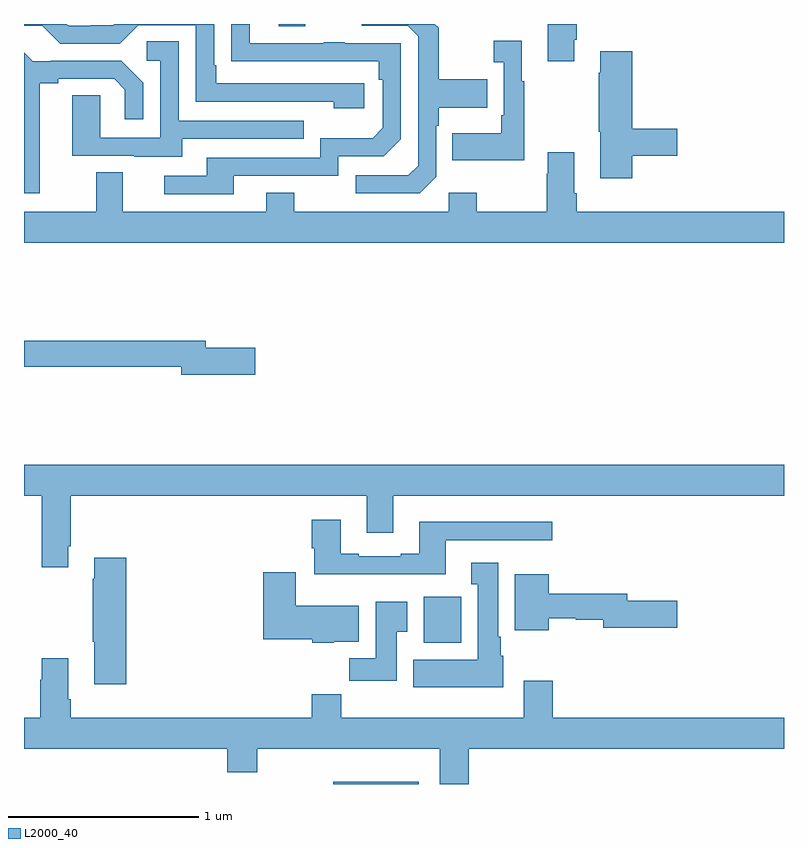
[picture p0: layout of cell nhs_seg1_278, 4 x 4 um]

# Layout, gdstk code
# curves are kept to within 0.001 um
import gdstk
lib = gdstk.Library(unit=1e-6, precision=1e-09)
def R(c, l, rs):  # rectangles x0, y0, x1, y1
    for r in rs: c.add(gdstk.rectangle(r[:2], r[2:], *l))
def P(c, l, *ps):  # polygons
    for p in ps: c.add(gdstk.Polygon(p, *l))
L2000_40 = (2000, 40)

nhs_seg1_278 = lib.new_cell('nhs_seg1_278')
R(nhs_seg1_278, L2000_40, [(126.627,566.199,127.078,566.212), (127.103,566.942,127.3,567.184), (126.341,570.186,126.481,570.199)])
P(nhs_seg1_278, L2000_40, [(127.897,570.115),(127.91,570.115),(127.91,570.199),(127.757,570.199),(127.757,570.003),(127.897,570.003)],
  [(126.103,569.4),(126.654,569.4),(126.654,569.502),(126.894,569.502),(126.984,569.592),(126.984,570.099),(126.689,570.099),(126.689,570.104),(126.577,570.104),(126.577,570.099),(126.187,570.099),(126.187,570.199),(126.091,570.199),(126.091,570.004),(126.868,570.003),(126.868,569.906),(126.888,569.906),(126.888,569.652),(126.835,569.599),(126.558,569.599),(126.558,569.496),(125.963,569.496),(125.963,569.4),(125.739,569.4),(125.739,569.304),(126.103,569.304)],
  [(126.79,569.886),(126.013,569.886),(126.013,569.983),(126,569.983),(126,570.199),(125.476,570.199),(125.469,570.192),(125.351,570.192),(125.351,570.189),(125.235,570.189),(125.225,570.199),(125,570.199),(125,570.189),(125.097,570.189),(125.19,570.096),(125.505,570.096),(125.601,570.192),(125.904,570.192),(125.904,569.79),(126.629,569.79),(126.629,569.756),(126.79,569.756)],
  [(127.17,569.394),(127.17,569.663),(127.183,569.663),(127.183,569.759),(127.439,569.759),(127.439,569.907),(127.183,569.907),(127.183,570.179),(127.163,570.199),(126.777,570.199),(126.777,570.189),(127.02,570.189),(127.074,570.135),(127.074,569.454),(127.023,569.403),(126.747,569.403),(126.747,569.307),(127.083,569.307)],
  [(127.633,569.899),(127.621,569.899),(127.621,570.112),(127.473,570.112),(127.473,569.999),(127.524,569.999),(127.524,569.719),(127.512,569.719),(127.512,569.623),(127.255,569.623),(127.255,569.483),(127.633,569.483)],
  [(125.833,569.595),(126.473,569.595),(126.473,569.691),(125.814,569.691),(125.814,570.107),(125.646,570.107),(125.646,570.006),(125.718,570.006),(125.718,569.601),(125.4,569.601),(125.4,569.825),(125.255,569.825),(125.255,569.505),(125.579,569.505),(125.579,569.501),(125.833,569.501)],
  [(128.201,569.506),(128.437,569.506),(128.437,569.648),(128.201,569.648),(128.201,570.055),(128.033,570.055),(128.033,569.942),(128.026,569.942),(128.026,569.631),(128.033,569.631),(128.033,569.388),(128.201,569.388)],
  [(125.083,569.888),(125.179,569.888),(125.179,569.91),(125.474,569.91),(125.531,569.853),(125.531,569.697),(125.628,569.697),(125.628,569.89),(125.512,570.006),(125.14,570.006),(125.14,570.003),(125.046,570.003),(125,570.049),(125,569.307),(125.083,569.307)],
  [(129,569.212),(127.91,569.212),(127.91,569.308),(127.897,569.308),(127.897,569.524),(127.757,569.524),(127.757,569.411),(127.75,569.411),(127.75,569.212),(127.383,569.212),(127.383,569.311),(127.236,569.311),(127.236,569.212),(126.423,569.212),(126.423,569.311),(126.275,569.311),(126.275,569.212),(125.521,569.212),(125.521,569.42),(125.381,569.42),(125.381,569.212),(125,569.212),(125,569.048),(129,569.048)],
  [(126.217,568.496),(125.956,568.496),(125.956,568.532),(125,568.532),(125,568.396),(125.828,568.396),(125.828,568.354),(126.217,568.354)],
  [(125.233,567.451),(125.246,567.451),(125.246,567.716),(126.803,567.716),(126.803,567.522),(126.943,567.522),(126.943,567.716),(129,567.716),(129,567.88),(125,567.88),(125,567.716),(125.093,567.716),(125.093,567.339),(125.233,567.339)],
  [(127.219,567.483),(127.78,567.483),(127.78,567.58),(127.079,567.58),(127.079,567.412),(126.983,567.412),(126.983,567.399),(126.763,567.399),(126.763,567.412),(126.667,567.412),(126.667,567.589),(126.515,567.589),(126.515,567.441),(126.527,567.441),(126.527,567.302),(127.219,567.302)],
  [(125.537,567.391),(125.369,567.391),(125.369,567.278),(125.362,567.278),(125.362,566.947),(125.369,566.947),(125.369,566.724),(125.537,566.724)],
  [(127.522,566.874),(127.51,566.874),(127.51,566.974),(127.495,566.974),(127.495,567.364),(127.355,567.364),(127.355,567.251),(127.388,567.251),(127.388,566.854),(127.049,566.854),(127.049,566.708),(127.522,566.708)],
  [(126.63,566.948),(126.763,566.948),(126.763,567.136),(126.43,567.136),(126.43,567.313),(126.26,567.313),(126.26,566.96),(126.516,566.96),(126.516,566.942),(126.63,566.942)],
  [(127.762,567.072),(127.905,567.072),(127.905,567.064),(128.048,567.064),(128.048,567.022),(128.437,567.022),(128.437,567.164),(128.176,567.164),(128.176,567.2),(127.762,567.2),(127.762,567.304),(127.583,567.304),(127.583,567.008),(127.762,567.008)],
  [(126.961,567.001),(127.018,567.001),(127.018,567.157),(126.851,567.157),(126.851,566.86),(126.712,566.86),(126.712,566.742),(126.961,566.742)],
  [(127.34,566.384),(129,566.384),(129,566.548),(127.784,566.548),(127.784,566.743),(127.631,566.743),(127.631,566.548),(126.671,566.548),(126.671,566.672),(126.515,566.672),(126.515,566.548),(125.246,566.548),(125.246,566.644),(125.233,566.644),(125.233,566.86),(125.093,566.86),(125.093,566.747),(125.086,566.747),(125.086,566.548),(125,566.548),(125,566.384),(126.071,566.384),(126.071,566.26),(126.227,566.26),(126.227,566.384),(127.187,566.384),(127.187,566.199),(127.34,566.199)])

lib.write_gds('nhs_seg1_278.gds')
